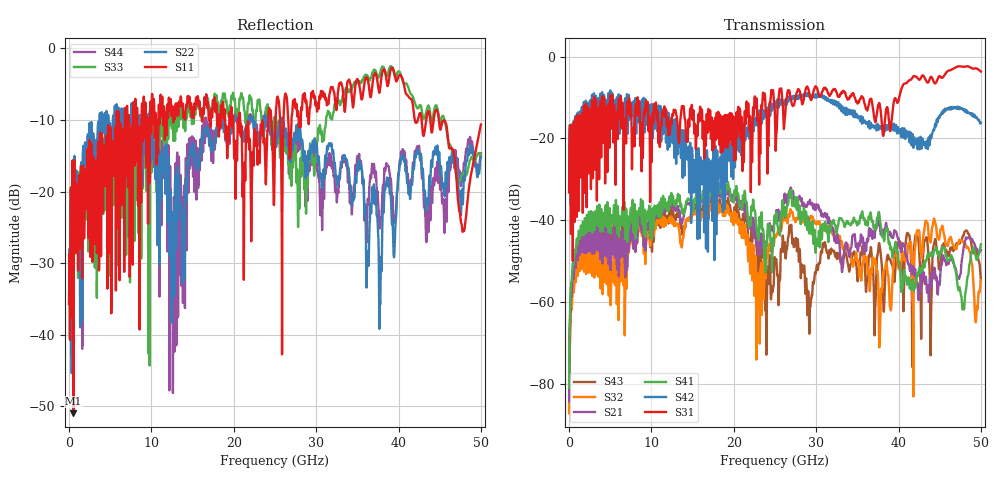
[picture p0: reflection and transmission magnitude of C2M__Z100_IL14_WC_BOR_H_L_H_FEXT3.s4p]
# GHz S MA R 50
! S-Parameters data
! Freq  magS11  angS11  magS12  angS12  magS13  angS13  magS14  angS14
!  magS21  angS21  magS22  angS22  magS23  angS23  magS24  angS24
!  magS31  angS31  magS32  angS32  magS33  angS33  magS34  angS34
!  magS41  angS41  magS42  angS42  magS43  angS43  magS44  angS44
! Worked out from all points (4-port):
!   5000 points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, 10 MHz to 50 GHz, reference 50 ohm
!   strongest paths, dB at 10 MHz, 12.51 GHz, 25.01 GHz, 37.51 GHz, 50 GHz:
!     S31: -33.2, -14.2, -15.3, -12.0, -3.6
!     S42: -33.1, -16.5, -11.6, -17.6, -16.1
!     S41: -81.0, -35.5, -40.3, -38.9, -45.9
!     S21: -84.3, -36.8, -40.0, -39.6, -47.3
!     S32: -87.2, -40.8, -43.9, -54.3, -54.6
!     S43: -83.2, -39.5, -49.6, -47.8, -54.7
!   lowest |S11| = -51.0 dB at 540 MHz (marker M1), VSWR 1.01, Z = 50.3 - j0.069 ohm
!   |S11| at or under -10 dB: start of sweep to 5.767 GHz; 20.77 GHz to 24.19 GHz (3.421 GHz wide, 15.2 % of centre); 44.9 GHz to end of sweep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
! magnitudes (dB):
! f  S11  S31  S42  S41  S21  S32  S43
! 10 MHz  -35.7  -33.2  -33.1  -81.0  -84.3  -87.2  -83.2
! 540 MHz  -51.0  -17.5  -16.9  -50.8  -54.3  -57.5  -53.1
! 17.21 GHz  -10.0  -19.4  -31.0  -32.5  -33.5  -36.3  -35.6
! 23.99 GHz  -14.7  -14.2  -13.8  -46.0  -45.2  -48.1  -65.2
! 37.76 GHz  -5.7  -12.1  -17.3  -40.1  -41.9  -66.2  -47.0
! 43.36 GHz  -10.0  -5.9  -21.6  -50.0  -54.7  -40.3  -44.2
! 50 GHz  -10.6  -3.6  -16.1  -45.9  -47.3  -54.6  -54.7
